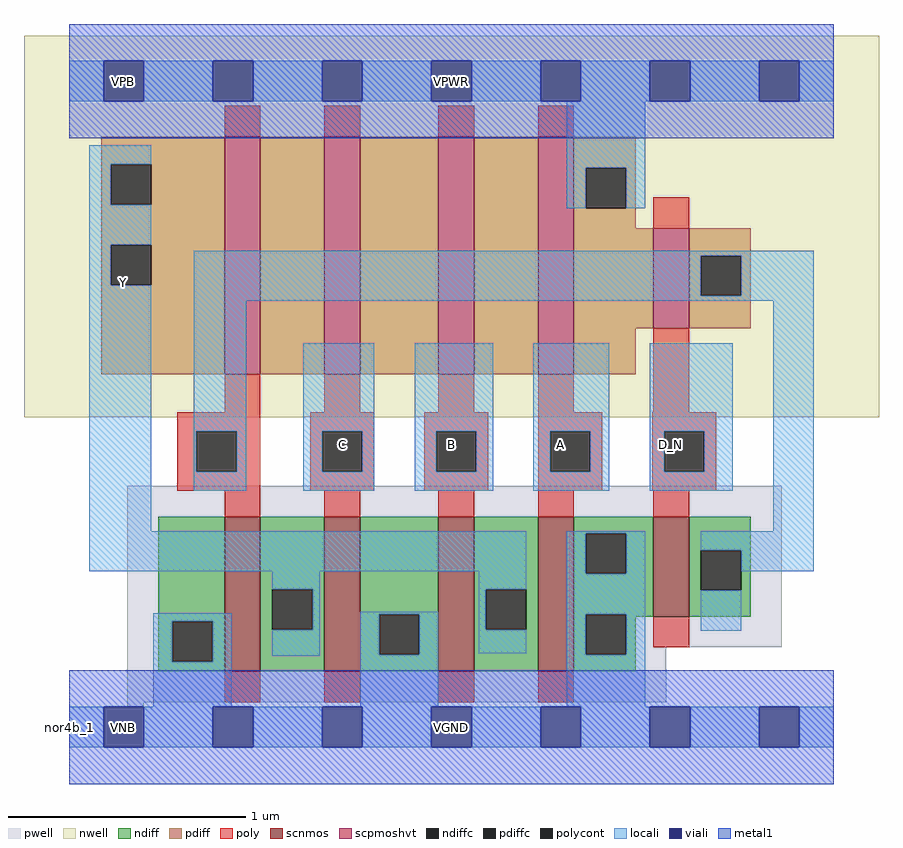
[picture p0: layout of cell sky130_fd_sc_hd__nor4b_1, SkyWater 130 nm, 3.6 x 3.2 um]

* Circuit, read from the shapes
.subckt sky130_fd_sc_hd__nor4b_1 A B C D_N VGND VNB VPB VPWR Y
XM1 Y n1 VGND VNB sky130_fd_pr__nfet_01v8 w=0.65 l=0.15
XM2 VGND C Y VNB sky130_fd_pr__nfet_01v8 w=0.65 l=0.15
XM3 Y B VGND VNB sky130_fd_pr__nfet_01v8 w=0.65 l=0.15
XM4 VGND A Y VNB sky130_fd_pr__nfet_01v8 w=0.65 l=0.15
XM5 n1 D_N VGND VNB sky130_fd_pr__nfet_01v8 w=0.42 l=0.15
XM6 n2 n1 Y VPB sky130_fd_pr__pfet_01v8_hvt w=1 l=0.15
XM7 n3 C n2 VPB sky130_fd_pr__pfet_01v8_hvt w=1 l=0.15
XM8 n4 B n3 VPB sky130_fd_pr__pfet_01v8_hvt w=1 l=0.15
XM9 VPWR A n4 VPB sky130_fd_pr__pfet_01v8_hvt w=1 l=0.15
XM10 n1 D_N VPWR VPB sky130_fd_pr__pfet_01v8_hvt w=0.42 l=0.15
.ends

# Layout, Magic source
magic
tech sky130A
magscale 1 2
<< nwell >>
rect -38 261 682 582
<< pwell >>
rect 49 67 600 203
rect 49 21 503 67
rect 49 17 63 21
rect 29 -17 63 17
<< scnmos >>
rect 131 47 161 177
rect 215 47 245 177
rect 311 47 341 177
rect 395 47 425 177
rect 492 93 522 177
<< scpmoshvt >>
rect 131 297 161 497
rect 215 297 245 497
rect 311 297 341 497
rect 395 297 425 497
rect 492 336 522 420
<< ndiff >>
rect 75 89 131 177
rect 75 55 87 89
rect 121 55 131 89
rect 75 47 131 55
rect 161 116 215 177
rect 161 82 171 116
rect 205 82 215 116
rect 161 47 215 82
rect 245 95 311 177
rect 245 61 261 95
rect 295 61 311 95
rect 245 47 311 61
rect 341 116 395 177
rect 341 82 351 116
rect 385 82 395 116
rect 341 47 395 82
rect 425 163 492 177
rect 425 129 435 163
rect 469 129 492 163
rect 425 95 492 129
rect 425 61 435 95
rect 469 93 492 95
rect 522 149 574 177
rect 522 115 532 149
rect 566 115 574 149
rect 522 93 574 115
rect 469 61 477 93
rect 425 47 477 61
<< pdiff >>
rect 27 474 131 497
rect 27 440 35 474
rect 69 440 131 474
rect 27 406 131 440
rect 27 372 35 406
rect 69 372 131 406
rect 27 297 131 372
rect 161 297 215 497
rect 245 297 311 497
rect 341 297 395 497
rect 425 471 477 497
rect 425 437 435 471
rect 469 437 477 471
rect 425 420 477 437
rect 425 336 492 420
rect 522 397 574 420
rect 522 363 532 397
rect 566 363 574 397
rect 522 336 574 363
rect 425 297 477 336
<< ndiffc >>
rect 87 55 121 89
rect 171 82 205 116
rect 261 61 295 95
rect 351 82 385 116
rect 435 129 469 163
rect 435 61 469 95
rect 532 115 566 149
<< pdiffc >>
rect 35 440 69 474
rect 35 372 69 406
rect 435 437 469 471
rect 532 363 566 397
<< poly >>
rect 131 497 161 523
rect 215 497 245 523
rect 311 497 341 523
rect 395 497 425 523
rect 492 420 522 446
rect 131 265 161 297
rect 215 265 245 297
rect 311 265 341 297
rect 395 265 425 297
rect 492 265 522 336
rect 91 249 161 265
rect 91 215 107 249
rect 141 215 161 249
rect 91 199 161 215
rect 203 249 257 265
rect 203 215 213 249
rect 247 215 257 249
rect 203 199 257 215
rect 299 249 353 265
rect 299 215 309 249
rect 343 215 353 249
rect 299 199 353 215
rect 395 249 449 265
rect 395 215 405 249
rect 439 215 449 249
rect 395 199 449 215
rect 491 249 545 265
rect 491 215 501 249
rect 535 215 545 249
rect 491 199 545 215
rect 131 177 161 199
rect 215 177 245 199
rect 311 177 341 199
rect 395 177 425 199
rect 492 177 522 199
rect 492 67 522 93
rect 131 21 161 47
rect 215 21 245 47
rect 311 21 341 47
rect 395 21 425 47
<< polycont >>
rect 107 215 141 249
rect 213 215 247 249
rect 309 215 343 249
rect 405 215 439 249
rect 501 215 535 249
<< locali >>
rect 0 527 29 561
rect 63 527 121 561
rect 155 527 213 561
rect 247 527 305 561
rect 339 527 397 561
rect 431 527 489 561
rect 523 527 581 561
rect 615 527 644 561
rect 17 474 69 490
rect 17 440 35 474
rect 17 406 69 440
rect 419 471 485 527
rect 419 437 435 471
rect 469 437 485 471
rect 17 372 35 406
rect 17 165 69 372
rect 105 397 627 401
rect 105 363 532 397
rect 566 363 627 397
rect 105 359 627 363
rect 105 249 149 359
rect 105 215 107 249
rect 141 215 149 249
rect 105 199 149 215
rect 197 249 257 323
rect 197 215 213 249
rect 247 215 257 249
rect 197 199 257 215
rect 291 249 357 323
rect 291 215 309 249
rect 343 215 357 249
rect 291 199 357 215
rect 391 249 455 323
rect 391 215 405 249
rect 439 215 455 249
rect 391 199 455 215
rect 489 249 559 323
rect 489 215 501 249
rect 535 215 559 249
rect 489 199 559 215
rect 593 165 627 359
rect 17 131 385 165
rect 171 116 211 131
rect 71 89 137 96
rect 71 55 87 89
rect 121 55 137 89
rect 205 82 211 116
rect 345 116 385 131
rect 171 60 211 82
rect 245 95 311 97
rect 245 61 261 95
rect 295 61 311 95
rect 345 82 351 116
rect 345 62 385 82
rect 419 163 485 165
rect 419 129 435 163
rect 469 129 485 163
rect 419 95 485 129
rect 71 17 137 55
rect 245 17 311 61
rect 419 61 435 95
rect 469 61 485 95
rect 532 149 627 165
rect 566 131 627 149
rect 532 81 566 115
rect 419 17 485 61
rect 0 -17 29 17
rect 63 -17 121 17
rect 155 -17 213 17
rect 247 -17 305 17
rect 339 -17 397 17
rect 431 -17 489 17
rect 523 -17 581 17
rect 615 -17 644 17
<< viali >>
rect 29 527 63 561
rect 121 527 155 561
rect 213 527 247 561
rect 305 527 339 561
rect 397 527 431 561
rect 489 527 523 561
rect 581 527 615 561
rect 29 -17 63 17
rect 121 -17 155 17
rect 213 -17 247 17
rect 305 -17 339 17
rect 397 -17 431 17
rect 489 -17 523 17
rect 581 -17 615 17
<< metal1 >>
rect 0 561 644 592
rect 0 527 29 561
rect 63 527 121 561
rect 155 527 213 561
rect 247 527 305 561
rect 339 527 397 561
rect 431 527 489 561
rect 523 527 581 561
rect 615 527 644 561
rect 0 496 644 527
rect 0 17 644 48
rect 0 -17 29 17
rect 63 -17 121 17
rect 155 -17 213 17
rect 247 -17 305 17
rect 339 -17 397 17
rect 431 -17 489 17
rect 523 -17 581 17
rect 615 -17 644 17
rect 0 -48 644 -17
<< labels >>
flabel locali s 213 221 247 255 0 FreeSans 400 0 0 0 C
port 3 nsew signal input
flabel locali s 305 221 339 255 0 FreeSans 400 0 0 0 B
port 2 nsew signal input
flabel locali s 397 221 431 255 0 FreeSans 400 0 0 0 A
port 1 nsew signal input
flabel locali s 489 221 523 255 0 FreeSans 400 0 0 0 D_N
port 4 nsew signal input
flabel locali s 29 357 63 391 0 FreeSans 200 0 0 0 Y
port 9 nsew signal output
flabel nwell s 29 527 63 561 0 FreeSans 200 0 0 0 VPB
port 7 nsew power bidirectional
flabel pwell s 29 -17 63 17 0 FreeSans 200 0 0 0 VNB
port 6 nsew ground bidirectional
flabel metal1 s 29 -17 63 17 0 FreeSans 200 0 0 0 VGND
port 5 nsew ground bidirectional abutment
flabel metal1 s 29 527 63 561 0 FreeSans 200 0 0 0 VPWR
port 8 nsew power bidirectional abutment
rlabel comment s 0 0 0 0 4 nor4b_1
rlabel metal1 s 0 -48 644 48 1 VGND
port 5 nsew ground bidirectional abutment
rlabel metal1 s 0 496 644 592 1 VPWR
port 8 nsew power bidirectional abutment
<< properties >>
string FIXED_BBOX 0 0 644 544
string GDS_END 1153434
string GDS_FILE $PDKPATH/libs.ref/sky130_fd_sc_hd/gds/sky130_fd_sc_hd.gds
string GDS_START 1148228
string LEFclass CORE
string LEFsite unithd
string LEFsymmetry X Y R90
string path 0.000 0.000 3.220 0.000 
<< end >>
